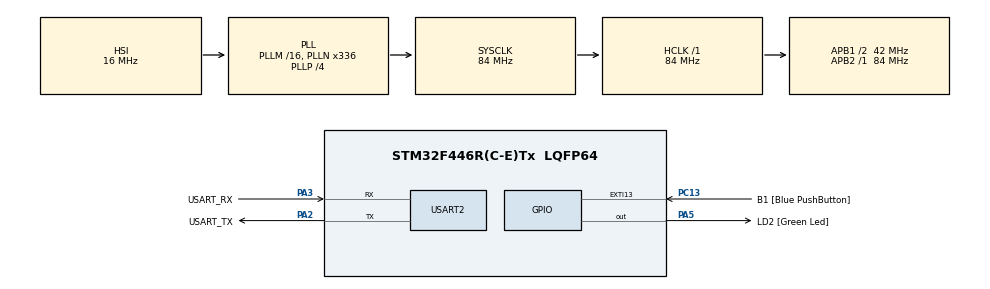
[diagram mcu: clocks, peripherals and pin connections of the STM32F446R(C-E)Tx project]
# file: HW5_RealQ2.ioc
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Mcu.Family=STM32F4
Mcu.Name=STM32F446R(C-E)Tx
Mcu.Package=LQFP64
NVIC.PriorityGroup=NVIC_PRIORITYGROUP_0
PA13.GPIO_Label=TMS
PA13.Mode=Serial_Wire
PA13.Signal=SYS_JTMS-SWDIO
PA14.GPIO_Label=TCK
PA14.Mode=Serial_Wire
PA14.Signal=SYS_JTCK-SWCLK
PA2.GPIO_Label=USART_TX
PA2.Mode=Asynchronous
PA2.Signal=USART2_TX
PA3.GPIO_Label=USART_RX
PA3.Mode=Asynchronous
PA3.Signal=USART2_RX
PA5.GPIO_Label=LD2 [Green Led]
PA5.Signal=GPIO_Output
PB3.GPIO_Label=SWO
PB3.Signal=SYS_JTDO-SWO
PC13.GPIO_Label=B1 [Blue PushButton]
PC13.GPIO_ModeDefaultEXTI=GPIO_MODE_IT_FALLING
PC13.Signal=GPXTI13
PC14-OSC32_IN.Mode=LSE-External-Oscillator
PC14-OSC32_IN.Signal=RCC_OSC32_IN
PC15-OSC32_OUT.Mode=LSE-External-Oscillator
PC15-OSC32_OUT.Signal=RCC_OSC32_OUT
PH0-OSC_IN.Mode=HSE-External-Oscillator
PH0-OSC_IN.Signal=RCC_OSC_IN
PH1-OSC_OUT.Mode=HSE-External-Oscillator
PH1-OSC_OUT.Signal=RCC_OSC_OUT
ProjectManager.HeapSize=0x200
ProjectManager.StackSize=0x400
ProjectManager.TargetToolchain=STM32CubeIDE
RCC.48MHZClocksFreq_Value=84000000
RCC.AHBFreq_Value=84000000
RCC.APB1CLKDivider=RCC_HCLK_DIV2
RCC.APB1Freq_Value=42000000
RCC.APB1TimFreq_Value=84000000
RCC.APB2Freq_Value=84000000
RCC.APB2TimFreq_Value=84000000
RCC.CortexFreq_Value=84000000
RCC.FLatency-AdvancedSettings=FLASH_LATENCY_2
RCC.HCLKFreq_Value=84000000
RCC.HSE_VALUE=8000000
RCC.HSI_VALUE=16000000
RCC.PLLN=336
RCC.PLLP=RCC_PLLP_DIV4
RCC.SYSCLKFreq_VALUE=84000000
RCC.SYSCLKSource=RCC_SYSCLKSOURCE_PLLCLK
RCC.USBFreq_Value=168000000
RCC.VCOOutputFreq_Value=336000000
STMicroelectronics.X-CUBE-AI.10.2.0.ActivationBufferSizeList=2788
STMicroelectronics.X-CUBE-AI.10.2.0.ActivationBuffers=pool0
STMicroelectronics.X-CUBE-AI.10.2.0.ActivationNames=pool0
STMicroelectronics.X-CUBE-AI.10.2.0.ActivationSizes=AI_NETWORK_DATA_ACTIVATION_1_SIZE
STMicroelectronics.X-CUBE-AI.10.2.0.HeapSize=0x800
STMicroelectronics.X-CUBE-AI.10.2.0.InternalRamActivationBufferMaxSize=AI_NETWORK_DATA_ACTIVATIONS_SIZE
STMicroelectronics.X-CUBE-AI.10.2.0.LatestDirectoryUsed-7c1c5e8fc414d22d9c4438c375821fb26eb88a23c3396c237e38d353995119f4=C\:\\Users\\muham\\Desktop\\Homework_4
STMicroelectronics.X-CUBE-AI.10.2.0.MaximumNumberOfInputLayer=1
STMicroelectronics.X-CUBE-AI.10.2.0.MaximumNumberOfOutputLayer=1
STMicroelectronics.X-CUBE-AI.10.2.0.MaximumSizeOfInputLayer=1
STMicroelectronics.X-CUBE-AI.10.2.0.MaximumSizeOfOutputLayer=1
STMicroelectronics.X-CUBE-AI.10.2.0.ModelActualCompression-7c1c5e8fc414d22d9c4438c375821fb26eb88a23c3396c237e38d353995119f4=0.0
STMicroelectronics.X-CUBE-AI.10.2.0.ModelCompression-7c1c5e8fc414d22d9c4438c375821fb26eb88a23c3396c237e38d353995119f4=None
STMicroelectronics.X-CUBE-AI.10.2.0.ModelFlashOccupation-7c1c5e8fc414d22d9c4438c375821fb26eb88a23c3396c237e38d353995119f4=58340
STMicroelectronics.X-CUBE-AI.10.2.0.ModelHashList=7c1c5e8fc414d22d9c4438c375821fb26eb88a23c3396c237e38d353995119f4
STMicroelectronics.X-CUBE-AI.10.2.0.ModelKind-7c1c5e8fc414d22d9c4438c375821fb26eb88a23c3396c237e38d353995119f4=KERAS
STMicroelectronics.X-CUBE-AI.10.2.0.ModelMacc-7c1c5e8fc414d22d9c4438c375821fb26eb88a23c3396c237e38d353995119f4=12260
STMicroelectronics.X-CUBE-AI.10.2.0.ModelName-7c1c5e8fc414d22d9c4438c375821fb26eb88a23c3396c237e38d353995119f4=network
STMicroelectronics.X-CUBE-AI.10.2.0.ModelNameList=network
STMicroelectronics.X-CUBE-AI.10.2.0.ModelRamOccupation-7c1c5e8fc414d22d9c4438c375821fb26eb88a23c3396c237e38d353995119f4=2788
STMicroelectronics.X-CUBE-AI.10.2.0.ModelStructureFile-7c1c5e8fc414d22d9c4438c375821fb26eb88a23c3396c237e38d353995119f4=C\:\\Users\\muham\\Desktop\\Homework_4\\mlp_mnist_model.h5
STMicroelectronics.X-CUBE-AI.10.2.0.ModelType-7c1c5e8fc414d22d9c4438c375821fb26eb88a23c3396c237e38d353995119f4=STM32Cube.AI MCU runtime
STMicroelectronics.X-CUBE-AI.10.2.0.ReadyForCodeGeneration=true
STMicroelectronics.X-CUBE-AI.10.2.0.StackSize=0x800
STMicroelectronics.X-CUBE-AI.10.2.0.WorkingBufferStartAddrList=0xFFFFFFFF
STMicroelectronics.X-CUBE-AI.10.2.0.XAaCUBEAaAICcArtificialOoIntelligenceJjCore=true
STMicroelectronics.X-CUBE-AI.10.2.0.copyWeightToRam=false
STMicroelectronics.X-CUBE-AI.10.2.0.customLayerConfigEnabled=false
STMicroelectronics.X-CUBE-AI.10.2.0.noOnnxIoTranspose=false
STMicroelectronics.X-CUBE-AI.10.2.0.useInputAllocation=true
STMicroelectronics.X-CUBE-AI.10.2.0.useOutputAllocation=true
USART2.VirtualMode=VM_ASYNC
VP_CRC_VS_CRC.Mode=CRC_Activate
VP_STMicroelectronics.X-CUBE-AI_VS_ArtificialOoIntelligenceJjXAaCUBEAaAI_10.2.0.Mode=ArtificialOoIntelligenceJjXAaCUBEAaAI
board=NUCLEO-F446RE

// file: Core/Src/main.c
/* USER CODE BEGIN Header */
/**
  ******************************************************************************
  * @file           : main.c
  * @brief          : Main program body
  ******************************************************************************
  * @attention
  *
  * Copyright (c) 2026 STMicroelectronics.
  * All rights reserved.
  *
  * This software is licensed under terms that can be found in the LICENSE file
  * in the root directory of this software component.
  * If no LICENSE file comes with this software, it is provided AS-IS.
  *
  ******************************************************************************
  */
/* USER CODE END Header */
#include "main.h"

/* USER CODE BEGIN Includes */
#include "network.h"
#include "network_data.h"
#include "hu_moments.h"
#include "manual_img.h"

/* USER CODE END Includes */

CRC_HandleTypeDef hcrc;

UART_HandleTypeDef huart2;

/* USER CODE BEGIN PV */
static ai_handle network = AI_HANDLE_NULL;

AI_ALIGNED(4) static ai_u8 activations[AI_NETWORK_DATA_ACTIVATIONS_SIZE];
AI_ALIGNED(4) static float in_data[AI_NETWORK_IN_1_SIZE];   // beklenen: 7
AI_ALIGNED(4) static float out_data[AI_NETWORK_OUT_1_SIZE]; // 10

/* USER CODE END PV */

void SystemClock_Config(void);
static void MX_GPIO_Init(void);
static void MX_USART2_UART_Init(void);
static void MX_CRC_Init(void);

/* USER CODE BEGIN 0 */
static int ai_init(void)
{
  ai_error err;

  err = ai_network_create(&network, AI_NETWORK_DATA_CONFIG);
  if (err.type != AI_ERROR_NONE) return -1;

  const ai_network_params params = {
    AI_NETWORK_DATA_WEIGHTS(ai_network_data_weights_get()),
    AI_NETWORK_DATA_ACTIVATIONS(activations)
  };

  if (!ai_network_init(network, &params)) return -2;
  return 0;
}

static int ai_run_one(const float *input, float *output)
{
  ai_buffer *ai_input  = ai_network_inputs_get(network, NULL);
  ai_buffer *ai_output = ai_network_outputs_get(network, NULL);
  if (!ai_input || !ai_output) return -1;

  ai_input[0].data  = AI_HANDLE_PTR((ai_u8*)input);
  ai_output[0].data = AI_HANDLE_PTR((ai_u8*)output);

  ai_i32 n_batch = ai_network_run(network, ai_input, ai_output);
  return (n_batch == 1) ? 0 : -2;
}

static const float HU_MEAN[7] = {
  3.34226118e-01f, 4.47682092e-02f, 8.18685621e-03f, 1.41505161e-03f,
  6.70835642e-06f, 1.55590742e-04f, -6.46115445e-06f
};

static const float HU_STD[7] = {
  8.40461705e-02f, 6.37658092e-02f, 1.40614649e-02f, 2.58284165e-03f,
  8.24536728e-05f, 7.20788726e-04f, 6.31196344e-05f
};

/* USER CODE END 0 */

int main(void)
{

  /* MCU Configuration--------------------------------------------------------*/

  /* Reset of all peripherals, Initializes the Flash interface and the Systick. */
  HAL_Init();

  /* Configure the system clock */
  SystemClock_Config();

  /* Initialize all configured peripherals */
  MX_GPIO_Init();
  MX_USART2_UART_Init();
  MX_CRC_Init();
  /* USER CODE BEGIN 2 */
  if (ai_init() != 0) {
    // debug için burada dur
    while(1);
  }

  // 2) Hu7 çıkar
  float hu[7];
  hu_moments_7_from_u8_28x28(img2_28x28, hu);

  // 3) Standardize + input buffer
  for (int i=0; i<7; i++) {
    float s = HU_STD[i];
    if (s == 0.0f) s = 1.0f;
    float x = (hu[i] - HU_MEAN[i]) / s;
    in_data[i] = x;
  }

  // 4) Inference
  if (ai_run_one(in_data, out_data) != 0) {
    while(1);
  }

  // 5) Debug ile bakacağımız değerler:
  // hu[0..6], in_data[0..6], out_data[0..9]
  volatile int pred = 0;
  volatile float best = out_data[0];
  for (int i=1; i<AI_NETWORK_OUT_1_SIZE; i++) {
    if (out_data[i] > best) { best = out_data[i]; pred = i; }
  }
  /* USER CODE END 2 */

  /* Infinite loop */
  /* USER CODE BEGIN WHILE */
  while (1)
  {
	  HAL_Delay(1000);
    /* USER CODE END WHILE */

  }
}

void SystemClock_Config(void)
{
  RCC_OscInitTypeDef RCC_OscInitStruct = {0};
  RCC_ClkInitTypeDef RCC_ClkInitStruct = {0};

  /** Configure the main internal regulator output voltage
  */
  __HAL_RCC_PWR_CLK_ENABLE();
  __HAL_PWR_VOLTAGESCALING_CONFIG(PWR_REGULATOR_VOLTAGE_SCALE3);

  /** Initializes the RCC Oscillators according to the specified parameters
  * in the RCC_OscInitTypeDef structure.
  */
  RCC_OscInitStruct.OscillatorType = RCC_OSCILLATORTYPE_HSI;
  RCC_OscInitStruct.HSIState = RCC_HSI_ON;
  RCC_OscInitStruct.HSICalibrationValue = RCC_HSICALIBRATION_DEFAULT;
  RCC_OscInitStruct.PLL.PLLState = RCC_PLL_ON;
  RCC_OscInitStruct.PLL.PLLSource = RCC_PLLSOURCE_HSI;
  RCC_OscInitStruct.PLL.PLLM = 16;
  RCC_OscInitStruct.PLL.PLLN = 336;
  RCC_OscInitStruct.PLL.PLLP = RCC_PLLP_DIV4;
  RCC_OscInitStruct.PLL.PLLQ = 2;
  RCC_OscInitStruct.PLL.PLLR = 2;
  if (HAL_RCC_OscConfig(&RCC_OscInitStruct) != HAL_OK)
  {
    Error_Handler();
  }

  /** Initializes the CPU, AHB and APB buses clocks
  */
  RCC_ClkInitStruct.ClockType = RCC_CLOCKTYPE_HCLK|RCC_CLOCKTYPE_SYSCLK
                              |RCC_CLOCKTYPE_PCLK1|RCC_CLOCKTYPE_PCLK2;
  RCC_ClkInitStruct.SYSCLKSource = RCC_SYSCLKSOURCE_PLLCLK;
  RCC_ClkInitStruct.AHBCLKDivider = RCC_SYSCLK_DIV1;
  RCC_ClkInitStruct.APB1CLKDivider = RCC_HCLK_DIV2;
  RCC_ClkInitStruct.APB2CLKDivider = RCC_HCLK_DIV1;

  if (HAL_RCC_ClockConfig(&RCC_ClkInitStruct, FLASH_LATENCY_2) != HAL_OK)
  {
    Error_Handler();
  }
}

static void MX_CRC_Init(void)
{

  hcrc.Instance = CRC;
  if (HAL_CRC_Init(&hcrc) != HAL_OK)
  {
    Error_Handler();
  }

}

static void MX_USART2_UART_Init(void)
{

  huart2.Instance = USART2;
  huart2.Init.BaudRate = 115200;
  huart2.Init.WordLength = UART_WORDLENGTH_8B;
  huart2.Init.StopBits = UART_STOPBITS_1;
  huart2.Init.Parity = UART_PARITY_NONE;
  huart2.Init.Mode = UART_MODE_TX_RX;
  huart2.Init.HwFlowCtl = UART_HWCONTROL_NONE;
  huart2.Init.OverSampling = UART_OVERSAMPLING_16;
  if (HAL_UART_Init(&huart2) != HAL_OK)
  {
    Error_Handler();
  }

}

static void MX_GPIO_Init(void)
{
  GPIO_InitTypeDef GPIO_InitStruct = {0};

  /* GPIO Ports Clock Enable */
  __HAL_RCC_GPIOC_CLK_ENABLE();
  __HAL_RCC_GPIOH_CLK_ENABLE();
  __HAL_RCC_GPIOA_CLK_ENABLE();
  __HAL_RCC_GPIOB_CLK_ENABLE();

  /*Configure GPIO pin Output Level */
  HAL_GPIO_WritePin(LD2_GPIO_Port, LD2_Pin, GPIO_PIN_RESET);

  /*Configure GPIO pin : B1_Pin */
  GPIO_InitStruct.Pin = B1_Pin;
  GPIO_InitStruct.Mode = GPIO_MODE_IT_FALLING;
  GPIO_InitStruct.Pull = GPIO_NOPULL;
  HAL_GPIO_Init(B1_GPIO_Port, &GPIO_InitStruct);

  /*Configure GPIO pin : LD2_Pin */
  GPIO_InitStruct.Pin = LD2_Pin;
  GPIO_InitStruct.Mode = GPIO_MODE_OUTPUT_PP;
  GPIO_InitStruct.Pull = GPIO_NOPULL;
  GPIO_InitStruct.Speed = GPIO_SPEED_FREQ_LOW;
  HAL_GPIO_Init(LD2_GPIO_Port, &GPIO_InitStruct);

}

void Error_Handler(void)
{
  __disable_irq();
  while (1)
  {
  }
}
